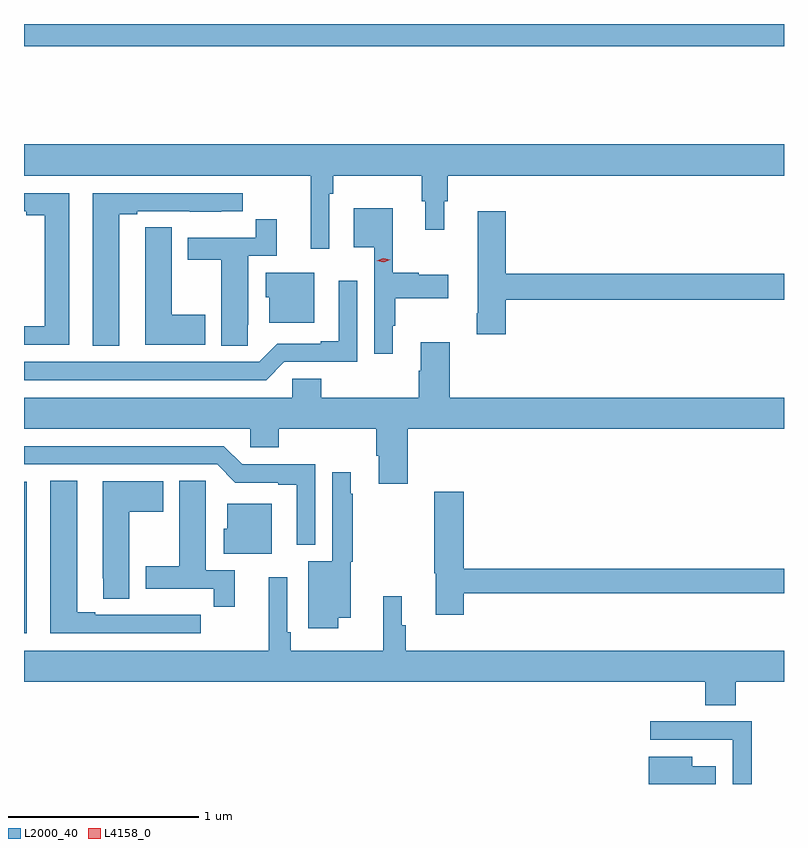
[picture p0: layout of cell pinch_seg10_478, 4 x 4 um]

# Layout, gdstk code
import gdstk
lib = gdstk.Library(unit=1e-6, precision=1e-09)
def R(c, l, rs):  # rectangles x0, y0, x1, y1
    for r in rs: c.add(gdstk.rectangle(r[:2], r[2:], *l))
def P(c, l, *ps):  # polygons
    for p in ps: c.add(gdstk.Polygon(p, *l))
L2000_40 = (2000, 40)
L4158_0 = (4158, 0)

pinch_seg10_478 = lib.new_cell('pinch_seg10_478')
R(pinch_seg10_478, L2000_40, [(266.635,1293.912,266.65,1294.71), (266.635,1297,270.635,1297.118)])
P(pinch_seg10_478, L2000_40, [(268.242,1296.224),(268.262,1296.224),(268.262,1296.32),(268.729,1296.32),(268.729,1296.186),(268.748,1296.186),(268.748,1296.036),(268.846,1296.036),(268.846,1296.186),(268.865,1296.186),(268.865,1296.32),(270.635,1296.32),(270.635,1296.484),(266.635,1296.484),(266.635,1296.32),(268.145,1296.32),(268.145,1295.934),(268.242,1295.934)],
  [(266.872,1296.228),(266.635,1296.228),(266.635,1296.132),(266.648,1296.132),(266.648,1296.112),(266.744,1296.112),(266.744,1295.526),(266.635,1295.526),(266.635,1295.43),(266.872,1295.43)],
  [(267.136,1296.117),(267.232,1296.117),(267.232,1296.132),(267.508,1296.132),(267.508,1296.131),(267.674,1296.131),(267.674,1296.132),(267.787,1296.132),(267.787,1296.228),(266.996,1296.228),(266.996,1295.425),(267.136,1295.425)],
  [(268.576,1295.53),(268.588,1295.53),(268.588,1295.675),(268.867,1295.675),(268.867,1295.797),(268.713,1295.797),(268.713,1295.81),(268.576,1295.81),(268.576,1296.148),(268.37,1296.148),(268.37,1295.942),(268.479,1295.942),(268.479,1295.382),(268.576,1295.382)],
  [(269.171,1295.668),(270.635,1295.668),(270.635,1295.804),(269.171,1295.804),(269.171,1296.133),(269.024,1296.133),(269.024,1295.596),(269.017,1295.596),(269.017,1295.484),(269.171,1295.484)],
  [(267.813,1295.536),(267.814,1295.536),(267.814,1295.898),(267.965,1295.898),(267.965,1296.091),(267.856,1296.091),(267.856,1295.994),(267.497,1295.994),(267.497,1295.878),(267.674,1295.878),(267.674,1295.425),(267.813,1295.425)],
  [(267.589,1295.589),(267.412,1295.589),(267.412,1296.047),(267.273,1296.047),(267.273,1295.939),(267.272,1295.939),(267.272,1295.429),(267.589,1295.429)],
  [(268.162,1295.809),(267.908,1295.809),(267.908,1295.679),(267.926,1295.679),(267.926,1295.546),(268.162,1295.546)],
  [(268.005,1295.34),(268.389,1295.34),(268.389,1295.767),(268.292,1295.767),(268.292,1295.449),(268.196,1295.449),(268.196,1295.436),(267.969,1295.436),(267.873,1295.34),(266.635,1295.34),(266.635,1295.244),(267.909,1295.244)],
  [(268.047,1295.25),(268.047,1295.152),(266.635,1295.152),(266.635,1294.988),(267.825,1294.988),(267.825,1294.89),(267.977,1294.89),(267.977,1294.988),(268.49,1294.988),(268.49,1294.846),(268.502,1294.846),(268.502,1294.698),(268.655,1294.698),(268.655,1294.988),(270.635,1294.988),(270.635,1295.152),(268.877,1295.152),(268.877,1295.443),(268.724,1295.443),(268.724,1295.294),(268.712,1295.294),(268.712,1295.152),(268.199,1295.152),(268.199,1295.25)],
  [(268.167,1294.8),(267.783,1294.8),(267.687,1294.896),(266.635,1294.896),(266.635,1294.8),(267.651,1294.8),(267.747,1294.704),(267.974,1294.704),(267.974,1294.692),(268.07,1294.692),(268.07,1294.376),(268.167,1294.376)],
  [(268.288,1293.992),(268.354,1293.992),(268.354,1294.287),(268.366,1294.287),(268.366,1294.646),(268.354,1294.646),(268.354,1294.759),(268.257,1294.759),(268.257,1294.291),(268.13,1294.291),(268.13,1293.939),(268.288,1293.939)],
  [(267.565,1294.008),(267.452,1294.008),(267.452,1294.009),(267.286,1294.009),(267.286,1294.008),(267.01,1294.008),(267.01,1294.023),(266.914,1294.023),(266.914,1294.715),(266.774,1294.715),(266.774,1293.912),(267.565,1293.912)],
  [(267.743,1294.242),(267.592,1294.242),(267.592,1294.604),(267.591,1294.604),(267.591,1294.715),(267.452,1294.715),(267.452,1294.263),(267.275,1294.263),(267.275,1294.146),(267.634,1294.146),(267.634,1294.05),(267.743,1294.05)],
  [(267.19,1294.552),(267.367,1294.552),(267.367,1294.711),(267.05,1294.711),(267.05,1294.201),(267.051,1294.201),(267.051,1294.093),(267.19,1294.093)],
  [(268.949,1294.122),(270.635,1294.122),(270.635,1294.25),(268.949,1294.25),(268.949,1294.657),(268.795,1294.657),(268.795,1294.227),(268.802,1294.227),(268.802,1294.008),(268.949,1294.008)],
  [(267.94,1294.594),(267.704,1294.594),(267.704,1294.461),(267.686,1294.461),(267.686,1294.331),(267.94,1294.331)],
  [(270.381,1293.656),(270.635,1293.656),(270.635,1293.82),(268.643,1293.82),(268.643,1293.954),(268.624,1293.954),(268.624,1294.105),(268.525,1294.105),(268.525,1293.82),(268.04,1293.82),(268.04,1293.916),(268.02,1293.916),(268.02,1294.207),(267.923,1294.207),(267.923,1293.82),(266.635,1293.82),(266.635,1293.656),(270.221,1293.656),(270.221,1293.532),(270.381,1293.532)],
  [(270.465,1293.447),(269.931,1293.447),(269.931,1293.351),(270.365,1293.351),(270.365,1293.35),(270.366,1293.35),(270.366,1293.118),(270.465,1293.118)],
  [(270.277,1293.211),(270.151,1293.211),(270.151,1293.262),(269.924,1293.262),(269.924,1293.118),(270.277,1293.118)])
P(pinch_seg10_478, L4158_0, [(268.528,1295.864),(268.492,1295.871),(268.492,1295.871),(268.492,1295.871),(268.526,1295.884),(268.562,1295.878),(268.562,1295.878),(268.562,1295.877)])

lib.write_gds('pinch_seg10_478.gds')
